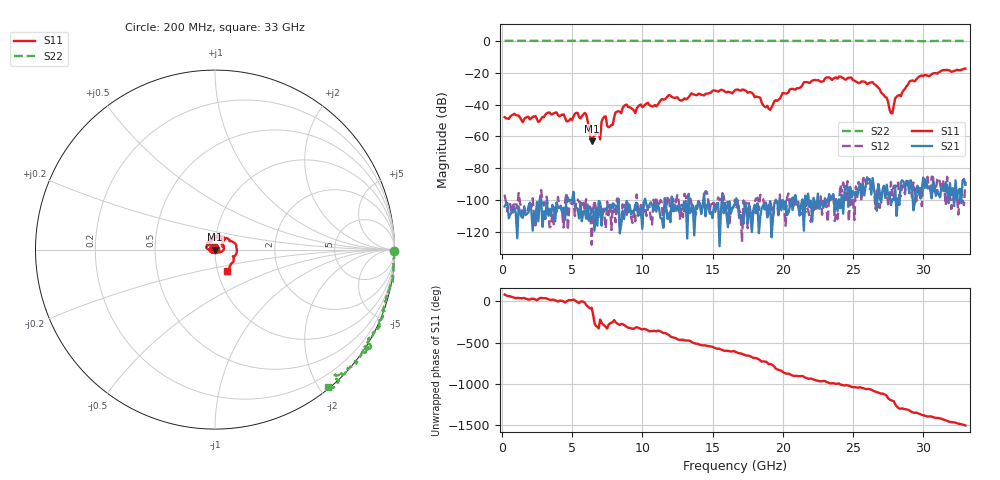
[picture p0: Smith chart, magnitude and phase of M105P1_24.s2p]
# GHZ S RI R 50
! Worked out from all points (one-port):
!   329 points, 200 MHz to 33 GHz, reference 50 ohm
!   lowest |S11| = -63.0 dB at 6.4 GHz (marker M1), VSWR 1.00, Z = 50 - j0.0687 ohm
!   |S11| at or under -10 dB: start of sweep to end of sweep
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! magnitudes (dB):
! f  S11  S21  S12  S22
! 200 MHz  -47.9  -103.9  -96.5  0.0
! 5.7 GHz  -47.3  -113.2  -104.4  0.0
! 6 GHz  -46.0  -111.4  -99.4  0.0
! 6.4 GHz  -63.0  -105.3  -127.9  0.0
! 6.8 GHz  -57.5  -115.9  -104.1  0.0
! 7 GHz  -61.8  -101.2  -102.5  0.0
! 7.1 GHz  -50.8  -115.9  -106.0  0.0
! 7.3 GHz  -47.6  -105.3  -108.7  0.0
! 7.6 GHz  -54.3  -103.6  -109.4  0.0
! 8.8 GHz  -40.2  -104.6  -102.7  0.0
! 9.5 GHz  -45.3  -102.9  -113.2  0.0
! 11.2 GHz  -38.7  -105.3  -102.0  -0.1
! 16.6 GHz  -30.9  -101.8  -99.7  0.0
! 19.1 GHz  -43.3  -100.6  -100.7  0.0
! 20 GHz  -32.7  -99.8  -99.1  -0.1
! 22.1 GHz  -24.9  -113.3  -106.3  -0.1
! 26.4 GHz  -25.9  -86.0  -92.1  0.1
! 27.6 GHz  -43.0  -97.1  -100.6  -0.1
! 27.8 GHz  -45.4  -99.3  -97.0  0.0
! 28 GHz  -36.1  -90.8  -91.7  -0.1
! 29.1 GHz  -25.1  -87.5  -91.3  -0.1
! 33 GHz  -17.5  -90.4  -88.3  -0.1
